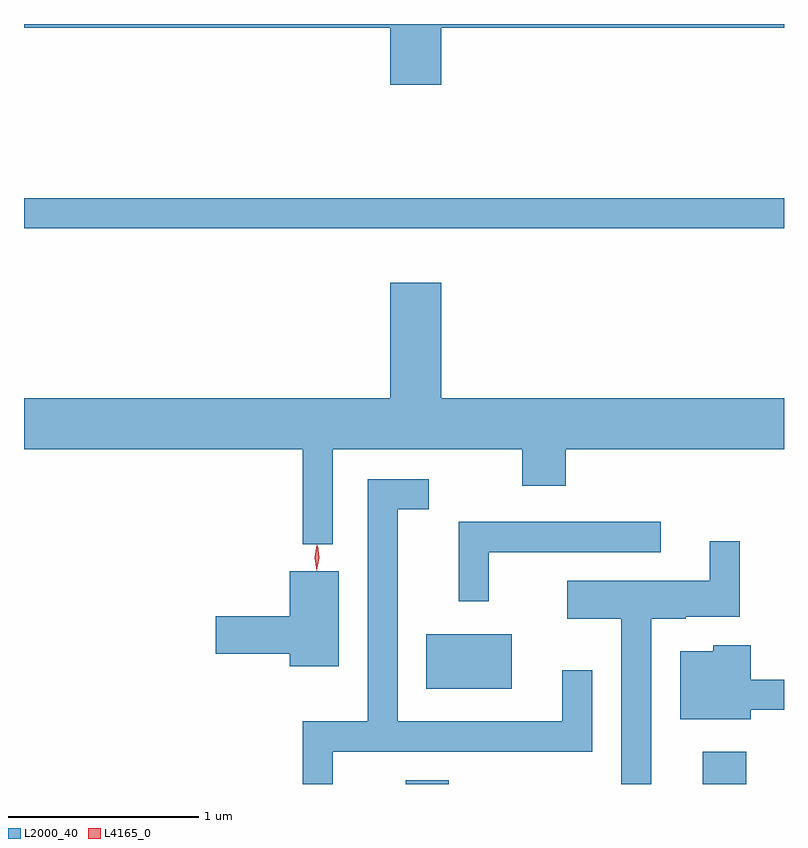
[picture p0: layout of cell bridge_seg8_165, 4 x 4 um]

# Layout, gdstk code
import gdstk
lib = gdstk.Library(unit=1e-6, precision=1e-09)
def R(c, l, rs):  # rectangles x0, y0, x1, y1
    for r in rs: c.add(gdstk.rectangle(r[:2], r[2:], *l))
def P(c, l, *ps):  # polygons
    for p in ps: c.add(gdstk.Polygon(p, *l))
L2000_40 = (2000, 40)
L4165_0 = (4165, 0)

bridge_seg8_165 = lib.new_cell('bridge_seg8_165')
R(bridge_seg8_165, L2000_40, [(1433.936,1934.555,1434.164,1934.574), (1435.501,1934.555,1435.729,1934.724), (1434.046,1935.056,1434.494,1935.344), (1431.928,1937.481,1435.928,1937.639)])
P(bridge_seg8_165, L2000_40, [(1434.124,1938.536),(1435.928,1938.536),(1435.928,1938.555),(1431.928,1938.555),(1431.928,1938.536),(1433.856,1938.536),(1433.856,1938.236),(1434.124,1938.236)],
  [(1433.554,1936.316),(1434.551,1936.316),(1434.551,1936.126),(1434.779,1936.126),(1434.779,1936.316),(1435.928,1936.316),(1435.928,1936.584),(1434.124,1936.584),(1434.124,1937.194),(1433.856,1937.194),(1433.856,1936.584),(1431.928,1936.584),(1431.928,1936.316),(1433.396,1936.316),(1433.396,1935.818),(1433.554,1935.818)],
  [(1433.554,1934.726),(1434.919,1934.726),(1434.919,1935.153),(1434.761,1935.153),(1434.761,1934.884),(1433.894,1934.884),(1433.894,1936.001),(1434.058,1936.001),(1434.058,1936.159),(1433.736,1936.159),(1433.736,1934.884),(1433.396,1934.884),(1433.396,1934.555),(1433.554,1934.555)],
  [(1434.374,1935.776),(1435.278,1935.776),(1435.278,1935.934),(1434.216,1935.934),(1434.216,1935.518),(1434.374,1935.518)],
  [(1435.229,1935.426),(1435.41,1935.426),(1435.41,1935.436),(1435.694,1935.436),(1435.694,1935.833),(1435.536,1935.833),(1435.536,1935.624),(1434.786,1935.624),(1434.786,1935.426),(1435.071,1935.426),(1435.071,1934.555),(1435.229,1934.555)],
  [(1433.584,1935.674),(1433.326,1935.674),(1433.326,1935.439),(1432.936,1935.439),(1432.936,1935.241),(1433.326,1935.241),(1433.326,1935.176),(1433.584,1935.176)],
  [(1435.754,1934.946),(1435.928,1934.946),(1435.928,1935.104),(1435.754,1935.104),(1435.754,1935.284),(1435.556,1935.284),(1435.556,1935.254),(1435.381,1935.254),(1435.381,1934.896),(1435.754,1934.896)])
P(bridge_seg8_165, L4165_0, [(1433.468,1935.678),(1433.468,1935.678),(1433.458,1935.746),(1433.468,1935.815),(1433.468,1935.815),(1433.469,1935.815),(1433.478,1935.746),(1433.469,1935.678)],
  [(1433.468,1935.68),(1433.468,1935.681),(1433.461,1935.746),(1433.473,1935.811),(1433.474,1935.812),(1433.474,1935.811),(1433.481,1935.746),(1433.469,1935.681)])

lib.write_gds('bridge_seg8_165.gds')
